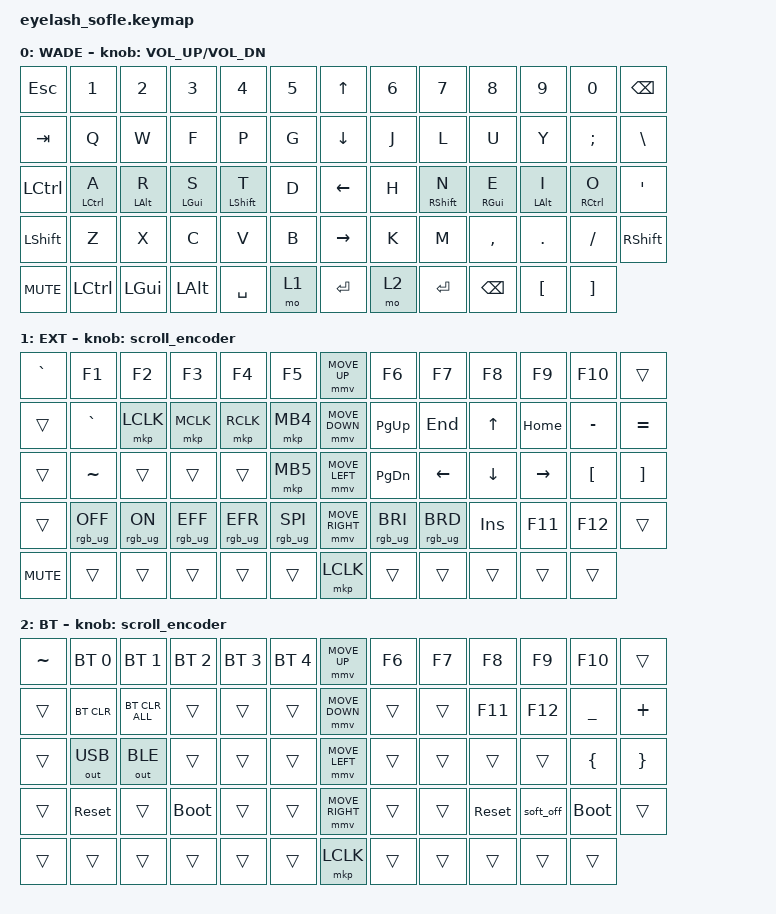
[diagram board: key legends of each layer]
#define ZMK_POINTING_DEFAULT_MOVE_VAL 1200  // 600
#define ZMK_POINTING_DEFAULT_SCRL_VAL 25   // 10

#include <input/processors.dtsi>
#include <zephyr/dt-bindings/input/input-event-codes.h>
#include <behaviors.dtsi>
#include <dt-bindings/zmk/bt.h>
#include <dt-bindings/zmk/keys.h>
#include <dt-bindings/zmk/outputs.h>
#include <dt-bindings/zmk/pointing.h>
#include <dt-bindings/zmk/rgb.h>

&mmv_input_listener { input-processors = <&zip_xy_scaler 2 1>; };

&msc_input_listener { input-processors = <&zip_scroll_scaler 2 1>; };

&msc {
    acceleration-exponent = <1>;      // 0
    time-to-max-speed-ms = <100>;       // 300
    delay-ms = <0>;                   // 0
};

&mmv {
    time-to-max-speed-ms = <500>;
    acceleration-exponent = <1>;
    trigger-period-ms = <16>;
};

&soft_off { hold-time-ms = <2000>; };

/ {
    scroll_encoder: scroll_encoder {
        compatible = "zmk,behavior-sensor-rotate";
        #sensor-binding-cells = <0>;
        bindings = <&msc SCRL_DOWN>, <&msc SCRL_UP>;

        tap-ms = <100>;
    };

    hmR: hmR {
        compatible = "zmk,behavior-hold-tap";
        label = "HMR";
        bindings = <&kp>, <&kp>;

        #binding-cells = <2>;
        tapping-term-ms = <200>;
        flavor = "tap-preferred";
        hold-trigger-key-positions = <0 1 2 3 4 5 13 14 15 16 17 18 26 27 28 29 30 31 39 40 41 42 43 44 53 54 55 56 57 52>;
        hold-trigger-on-release;
    };

    hmL: hmL {
        compatible = "zmk,behavior-hold-tap";
        label = "HML";
        bindings = <&kp>, <&kp>;

        #binding-cells = <2>;
        tapping-term-ms = <200>;
        flavor = "tap-preferred";
        hold-trigger-on-release;
        hold-trigger-key-positions = <50 51 7 8 9 10 11 12 20 21 22 23 24 25 33 34 35 36 37 38 46 47 48 49 59 60 61 62 63>;
    };

    behaviors {
    };

    combos {
        compatible = "zmk,combos";

        softoff {
            bindings = <&soft_off>;
            key-positions = <14 28 40>;
            layers = <0>;
        };
    };

    macros {
        SHIFT_MCLK: SHIFT_MCLK {
            compatible = "zmk,behavior-macro";
            #binding-cells = <0>;
            bindings =
                <&macro_press>,
                <&kp LEFT_SHIFT>,
                <&macro_press>,
                <&mkp MB3>,
                <&macro_pause_for_release>,
                <&macro_release>,
                <&kp LEFT_SHIFT &mkp MB3>;

            label = "SHIFT_MCLK";
        };
    };

    keymap {
        compatible = "zmk,keymap";

        wade {
            bindings = <
&kp ESC     &kp N1               &kp N2           &kp N3           &kp N4             &kp N5    &kp UP_ARROW     &kp N6  &kp N7              &kp N8            &kp N9            &kp N0                &kp BACKSPACE
&kp TAB     &kp Q                &kp W            &kp F            &kp P              &kp G     &kp DOWN_ARROW   &kp J   &kp L               &kp U             &kp Y             &kp SEMICOLON         &kp BSLH
&kp LCTRL   &hmL LEFT_CONTROL A  &hmL LEFT_ALT R  &hmL LEFT_GUI S  &hmL LEFT_SHIFT T  &kp D     &kp LEFT_ARROW   &kp H   &hmR RIGHT_SHIFT N  &hmR RIGHT_GUI E  &hmR LEFT_ALT I   &hmR RIGHT_CONTROL O  &kp APOS
&kp LSHFT   &kp Z                &kp X            &kp C            &kp V              &kp B     &kp RIGHT_ARROW  &kp K   &kp M               &kp COMMA         &kp DOT           &kp FSLH              &kp RSHIFT
&kp C_MUTE  &kp LCTRL            &kp LEFT_GUI     &kp LEFT_ALT     &kp SPACE          &mo 1     &kp ENTER        &mo 2   &kp ENTER           &kp BACKSPACE     &kp LEFT_BRACKET  &kp RIGHT_BRACKET
            >;

            sensor-bindings = <&inc_dec_kp C_VOLUME_UP C_VOL_DN>;
            display-name = "WADE";
        };

        ext {
            bindings = <
&kp GRAVE   &kp F1           &kp F2          &kp F3           &kp F4           &kp F5             &mmv MOVE_UP     &kp F6           &kp F7           &kp F8      &kp F9     &kp F10           &trans
&trans      &kp GRAVE        &mkp LCLK       &mkp MCLK        &mkp RCLK        &mkp MB4           &mmv MOVE_DOWN   &kp PG_UP        &kp END          &kp UP      &kp HOME   &kp MINUS         &kp EQUAL
&trans      &kp TILDE        &trans          &trans           &trans           &mkp MB5           &mmv MOVE_LEFT   &kp PG_DN        &kp LEFT         &kp DOWN    &kp RIGHT  &kp LEFT_BRACKET  &kp RIGHT_BRACKET
&trans      &rgb_ug RGB_OFF  &rgb_ug RGB_ON  &rgb_ug RGB_EFF  &rgb_ug RGB_EFR  &rgb_ug RGB_SPI    &mmv MOVE_RIGHT  &rgb_ug RGB_BRI  &rgb_ug RGB_BRD  &kp INSERT  &kp F11    &kp F12           &trans
&kp C_MUTE  &trans           &trans          &trans           &trans           &trans             &mkp LCLK        &trans           &trans           &trans      &trans     &trans
            >;

            display-name = "EXT";
            sensor-bindings = <&scroll_encoder>;
        };

        bt {
            bindings = <
&kp TILDE  &bt BT_SEL 0  &bt BT_SEL 1    &bt BT_SEL 2  &bt BT_SEL 3  &bt BT_SEL 4    &mmv MOVE_UP     &kp F6  &kp F7  &kp F8      &kp F9     &kp F10      &trans
&trans     &bt BT_CLR    &bt BT_CLR_ALL  &trans        &trans        &trans          &mmv MOVE_DOWN   &trans  &trans  &kp F11     &kp F12    &kp UNDER    &kp PLUS
&trans     &out OUT_USB  &out OUT_BLE    &trans        &trans        &trans          &mmv MOVE_LEFT   &trans  &trans  &trans      &trans     &kp LBRC     &kp RBRC
&trans     &sys_reset    &trans          &bootloader   &trans        &trans          &mmv MOVE_RIGHT  &trans  &trans  &sys_reset  &soft_off  &bootloader  &trans
&trans     &trans        &trans          &trans        &trans        &trans          &mkp LCLK        &trans  &trans  &trans      &trans     &trans
            >;

            display-name = "BT";
            sensor-bindings = <&scroll_encoder>;
        };
    };
};
